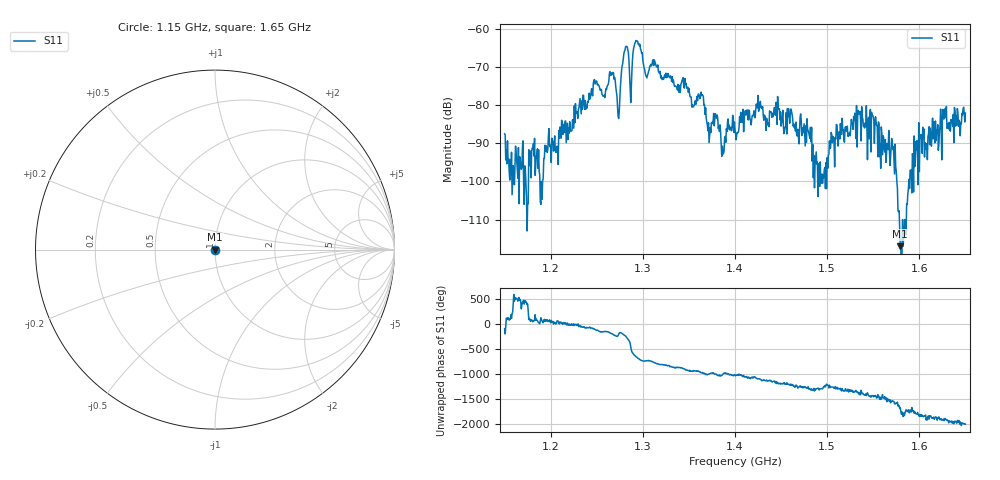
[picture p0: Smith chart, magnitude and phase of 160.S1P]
! C:\Users\rflab\Downloads\Lab5_KD_ZW\Q2\160.S1P
! Touchstone 1.1 file saved by VNA.EXE V1.65 (www.ke5fx.com/gpib/readme.htm)
! 11/12/2024 1:22:49 AM
!  Source: HEWLETT PACKARD,8753D,0,6.14
!  Min freq: 1.150000E+009 Hz
!  Max freq: 1.650000E+009 Hz
!  Points: 801
!  Params: S21
# GHZ S RI R 50
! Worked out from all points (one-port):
!   801 points, 1.15 GHz to 1.65 GHz, reference 50 ohm
!   lowest |S11| = -117.0 dB at 1.579 GHz (marker M1), VSWR 1.00, Z = 50 + j0.0001 ohm
!   |S11| at or under -10 dB: start of sweep to end of sweep
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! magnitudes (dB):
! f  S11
! 1.15 GHz  -87.5
! 1.212 GHz  -84.9
! 1.239 GHz  -80.1
! 1.249 GHz  -74.0
! 1.258 GHz  -77.3
! 1.266 GHz  -71.5
! 1.272 GHz  -80.0
! 1.275 GHz  -78.2
! 1.281 GHz  -65.6
! 1.282 GHz  -64.5
! 1.287 GHz  -79.3
! 1.293 GHz  -63.1
! 1.297 GHz  -64.0
! 1.304 GHz  -72.5
! 1.312 GHz  -68.1
! 1.32 GHz  -72.3
! 1.329 GHz  -72.8
! 1.337 GHz  -76.0
! 1.344 GHz  -75.0
! 1.356 GHz  -80.0
! 1.363 GHz  -77.6
! 1.369 GHz  -83.4
! 1.4 GHz  -86.4
! 1.462 GHz  -83.3
! 1.525 GHz  -88.0
! 1.579 GHz  -117.0
! 1.587 GHz  -103.5
! 1.65 GHz  -82.0
